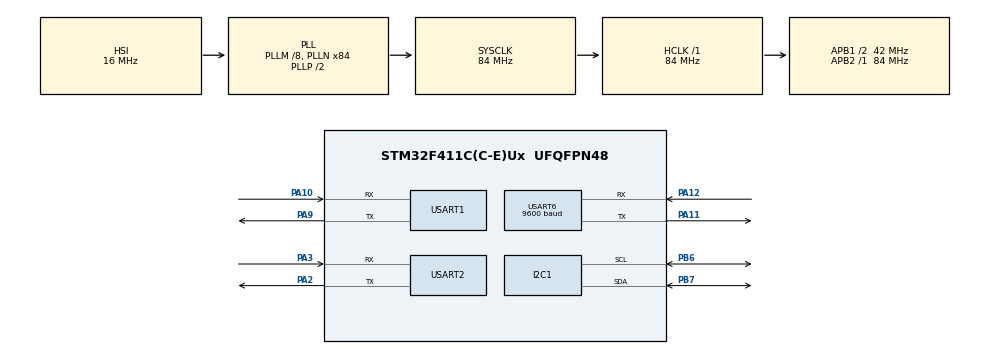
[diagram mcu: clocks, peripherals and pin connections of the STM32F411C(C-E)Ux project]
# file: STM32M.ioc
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Mcu.Family=STM32F4
Mcu.Name=STM32F411C(C-E)Ux
Mcu.Package=UFQFPN48
NVIC.I2C1_EV_IRQn=true\:0\:0\:false\:false\:true\:true\:true\:true
NVIC.PriorityGroup=NVIC_PRIORITYGROUP_4
NVIC.USART1_IRQn=true\:0\:0\:false\:false\:true\:true\:true\:true
NVIC.USART2_IRQn=true\:0\:0\:false\:false\:true\:true\:true\:true
NVIC.USART6_IRQn=true\:0\:0\:false\:false\:true\:true\:true\:true
PA10.Mode=Asynchronous
PA10.Signal=USART1_RX
PA11.Mode=Asynchronous
PA11.Signal=USART6_TX
PA12.Mode=Asynchronous
PA12.Signal=USART6_RX
PA13.Mode=Serial_Wire
PA13.Signal=SYS_JTMS-SWDIO
PA14.Mode=Serial_Wire
PA14.Signal=SYS_JTCK-SWCLK
PA2.Mode=Asynchronous
PA2.Signal=USART2_TX
PA3.Mode=Asynchronous
PA3.Signal=USART2_RX
PA9.Mode=Asynchronous
PA9.Signal=USART1_TX
PB6.GPIO_Pu=GPIO_PULLUP
PB6.Mode=I2C
PB6.Signal=I2C1_SCL
PB7.GPIO_Pu=GPIO_PULLUP
PB7.Mode=I2C
PB7.Signal=I2C1_SDA
PH0\ -\ OSC_IN.Mode=HSE-External-Oscillator
PH0\ -\ OSC_IN.Signal=RCC_OSC_IN
PH1\ -\ OSC_OUT.Mode=HSE-External-Oscillator
PH1\ -\ OSC_OUT.Signal=RCC_OSC_OUT
ProjectManager.HeapSize=0x200
ProjectManager.StackSize=0x400
ProjectManager.TargetToolchain=MDK-ARM V5.32
RCC.48MHZClocksFreq_Value=42000000
RCC.AHBFreq_Value=84000000
RCC.APB1CLKDivider=RCC_HCLK_DIV2
RCC.APB1Freq_Value=42000000
RCC.APB1TimFreq_Value=84000000
RCC.APB2Freq_Value=84000000
RCC.APB2TimFreq_Value=84000000
RCC.CortexFreq_Value=84000000
RCC.HCLKFreq_Value=84000000
RCC.HSE_VALUE=25000000
RCC.HSI_VALUE=16000000
RCC.LSE_VALUE=32768
RCC.PLLM=8
RCC.PLLN=84
RCC.SYSCLKFreq_VALUE=84000000
RCC.SYSCLKSource=RCC_SYSCLKSOURCE_PLLCLK
RCC.VCOOutputFreq_Value=168000000
USART1.VirtualMode=VM_ASYNC
USART2.VirtualMode=VM_ASYNC
USART6.BaudRate=9600
USART6.VirtualMode=VM_ASYNC
board=custom

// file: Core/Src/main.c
/* USER CODE BEGIN Header */
/**
  ******************************************************************************
  * @file           : main.c
  * @brief          : Main program body
  ******************************************************************************
  */
/* USER CODE END Header */
#include "main.h"

/* USER CODE BEGIN Includes */
#include "string.h"
#include "stdio.h"
/* USER CODE END Includes */

/* USER CODE BEGIN PTD */

// =======================================================
// ĐỊNH NGHĨA CÁC TRẠNG THÁI CỦA HỆ THỐNG (STATE MACHINE)
// =======================================================
typedef enum {
    STATE_INIT,      // Trạng thái khởi động, chờ các module ổn định
    STATE_NORMAL,    // Trạng thái an toàn, giám sát bình thường
    STATE_ALARM      // Trạng thái có lỗi an toàn (Tài xế vắng mặt hoặc chưa quẹt thẻ)
} BusState_t;

BusState_t sysState = STATE_INIT; // Trạng thái mặc định ban đầu

uint8_t u8_RxBuff1[50];  // Buffer cho UART1 (Camera)
uint8_t u8_RxBuff2[50];  // Buffer cho UART2 (ESP32)
uint8_t u8_RxBuff3[50];  // Buffer cho UART6 (Loa/RFID)

uint8_t u8_RxData1;      // Byte nhan cua esp
uint8_t u8_RxData2;      // Byte nhan cua Camera
uint8_t u8_RxData3;      // Byte nhan cua Loa/RFID

uint8_t _rxIndex1 = 0;   // Index cho UART1
uint8_t _rxIndex2 = 0;   // Index cho UART2
uint8_t _rxIndex3 = 0;   // Index cho UART6

volatile uint8_t Tx_Flag1 = 0;
volatile uint8_t Tx_Flag2 = 0;
volatile uint8_t Tx_Flag3 = 0;

uint8_t rfid_count = 0;         // Dem so luong hoc sinh quet the
uint8_t seats[16] = {0};        // Trang thai ghe: 1 = co nguoi, 0 = trong
uint8_t people_detect = 0;      // Cam bien phat hien nguoi: 1 = co, 0 = khong
uint8_t is_goingtoschool = 0;   // 0 là di dón hoc sinh , 1 mang hs den truong

// Biến lưu trạng thái lỗi để State Machine quyết định
uint8_t err_driver = 0;
uint8_t err_rfid = 0;
/* USER CODE END PTD */

I2C_HandleTypeDef hi2c1;

UART_HandleTypeDef huart1;
UART_HandleTypeDef huart2;
UART_HandleTypeDef huart6;

/* USER CODE BEGIN PV */
char* ghe_ngoi[16] = {"m0\n","m1\n","m2\n","m3\n","m4\n","m5\n","m6\n","m7\n","m8\n","m9\n","m10\n","m11\n","m12\n","x13\n","x14\n","x15\n"};
char* ghe_k_ngoi[16] = {"x0\n","x1\n","x2\n","x3\n","x4\n","x5\n","x6\n","x7\n","x8\n","x9\n","x10\n","x11\n","x12\n","x13\n","x14\n","x15\n"};

uint16_t f411_seats_data;    // Biến 16-bit lưu trạng thái của 16 ghế
uint8_t flag_new_data = 0;
uint8_t rx_buffer[2];
uint8_t count =0;
uint8_t giatri =0;
/* USER CODE END PV */

void SystemClock_Config(void);
static void MX_GPIO_Init(void);
static void MX_USART1_UART_Init(void);
static void MX_USART2_UART_Init(void);
static void MX_I2C1_Init(void);
static void MX_USART6_UART_Init(void);

/* USER CODE BEGIN PFP */
void send_tb() {
    char jsonBuf[256];
    uint8_t hs_count = 0;

    for(int i = 1; i <= 15; i++) {
        if(seats[i] == 1) hs_count++;
    }

    uint8_t isAlarm = (sysState == STATE_ALARM) ? 1 : 0;

    sprintf(jsonBuf, "TB:{\"so_hs_tren_xe\":%d, \"tai_xe_tren_xe\":%s, \"ghe_co_nguoi\":%s, \"bao_dong\":%s}\r\n",
            hs_count,
            (seats[0] == 1) ? "true" : "false",
            (hs_count > 0) ? "true" : "false",
            (isAlarm == 1) ? "true" : "false");

    HAL_UART_Transmit(&huart2, (uint8_t*)jsonBuf, strlen(jsonBuf), 50);
}

// Hàm này chỉ làm 1 việc duy nhất: Đọc tình huống hiện tại và gán lỗi
void Check_System_Errors() {
    uint8_t hs_count = 0;
    for(int i = 1; i <= 15; i++) {
        if(seats[i] == 1) hs_count++;
    }
    if(hs_count ==0 && is_goingtoschool == 1){
		 if(seats[0]==1){
		  HAL_UART_Transmit(&huart6, (uint8_t*)"001\r\n", strlen("001\r\n"), 50);
		 }
		}
    err_driver = ((seats[0] == 0) && (hs_count > 0 || people_detect == 1));
    err_rfid = (hs_count > rfid_count);
}

// Hàm gom khối xử lý I2C
void Process_I2C_Data() {
    if (flag_new_data == 1) {
        flag_new_data = 0;
        f411_seats_data = (rx_buffer[0] << 8) | rx_buffer[1];

        //char debug_buf[50];
        //sprintf(debug_buf, "I2C RAW: %02X %02X -> %d\r\n", rx_buffer[0], rx_buffer[1], f411_seats_data);
        //HAL_UART_Transmit(&huart2, (uint8_t*)debug_buf, strlen(debug_buf), 50);

        uint8_t is_changed = 0;
        for (int i = 0; i < 16; i++) {
            uint8_t bit_val = (f411_seats_data & (1 << i)) ? 1 : 0;
            if (seats[i] != bit_val) {
                seats[i] = bit_val;
                is_changed = 1;
                if (seats[i] == 1) {
                    HAL_UART_Transmit(&huart1, (uint8_t*)ghe_ngoi[i], strlen(ghe_ngoi[i]), 50);
                } else {
                    HAL_UART_Transmit(&huart1, (uint8_t*)ghe_k_ngoi[i], strlen(ghe_k_ngoi[i]), 50);
                }
            }
        }

        if (is_changed) {
            Check_System_Errors(); // Đánh giá lại lỗi
            send_tb();             // Báo cáo lên web
        }
    }
}

// Hàm gom khối xử lý phản hồi từ ESP32
void Process_ESP_Responses() {
    if (Tx_Flag1 == 1) {
        if(strncmp((char*)u8_RxBuff2, "GS:", 3) == 0) {
            char* response = (char*)u8_RxBuff2 + 3;
            uint8_t needUpdateTB = 0;

            if (strncmp(response, "M_OK", 4) == 0 || strncmp(response, "M_END", 5) == 0) {
                if(strncmp(response, "M_END", 5) == 0){
    if(seats[0] == 1) {  // Tài xế đã lên xe
        HAL_UART_Transmit(&huart6, (uint8_t*)"003\r\n", strlen("003\r\n"), 50);
        is_goingtoschool = 1;
    } else {
        // ⚠️ Tài xế vắng mặt - không gửi 003, đợi tài xế lên xe
        //HAL_UART_Transmit(&huart6, (uint8_t*)"002\r\n", strlen("002\r\n"), 50); // Cảnh báo tài xế vắng mặt
    }
}
                rfid_count++;
                needUpdateTB = 1;
            }
            else if (strncmp(response, "A_OK", 4) == 0 || strncmp(response, "A_END", 5) == 0 || strncmp(response, "A_C", 3) == 0) {
                if(rfid_count > 0) rfid_count--;
                needUpdateTB = 1;

                if (rfid_count == 0) {
                    HAL_UART_Transmit(&huart6, (uint8_t*)"001\r\n", strlen("001\r\n"), 50);
                }
            }
            else if (strncmp(response, "NOT_FOUND", 9) == 0) {
                 HAL_UART_Transmit(&huart6, (uint8_t*)"010\r\n", strlen("010\r\n"), 50);
            }

            Check_System_Errors();
            if(needUpdateTB) send_tb();
        }
        memset(u8_RxBuff2, 0, sizeof(u8_RxBuff2));
        _rxIndex2 = 0;
        Tx_Flag1 = 0;
    }
}

// Hàm gom khối xử lý Camera
void Process_Camera_Data() {
    if (Tx_Flag2 == 1) {
        if(u8_RxBuff1[0] == '1') people_detect = 1;
        else if(u8_RxBuff1[0] == '0') people_detect = 0;

        Check_System_Errors();
        send_tb();

        memset(u8_RxBuff1, 0, sizeof(u8_RxBuff1));
        _rxIndex1 = 0;
        Tx_Flag2 = 0;
    }
}

// Hàm gom khối xử lý RFID
void Process_RFID_Data() {
    if (Tx_Flag3 == 1) {
        char rfidCmd[50];
        sprintf(rfidCmd, "RFID:%s\r\n", u8_RxBuff3);
        HAL_UART_Transmit(&huart2, (uint8_t*)rfidCmd, strlen(rfidCmd), 50);

        memset(u8_RxBuff3, 0, sizeof(u8_RxBuff3));
        _rxIndex3 = 0;
        Tx_Flag3 = 0;
    }
}
/* USER CODE END PFP */

/* USER CODE BEGIN 0 */
void HAL_UART_ErrorCallback(UART_HandleTypeDef *huart) {
    if (huart->Instance == USART1) HAL_UART_Receive_IT(&huart1, &u8_RxData2, 1);
    else if (huart->Instance == USART2) HAL_UART_Receive_IT(&huart2, &u8_RxData1, 1);
    else if (huart->Instance == USART6) HAL_UART_Receive_IT(&huart6, &u8_RxData3, 1);
}

void HAL_UART_RxCpltCallback(UART_HandleTypeDef *huart) {
    if(huart->Instance == USART2) {
        if(u8_RxData1 != '\r' && u8_RxData1 != '\n') {
            u8_RxBuff2[_rxIndex2++] = u8_RxData1;
            if(_rxIndex2 >= sizeof(u8_RxBuff2) - 1) _rxIndex2 = sizeof(u8_RxBuff2) - 1;
        } else {
            if(_rxIndex2 > 0) { u8_RxBuff2[_rxIndex2] = '\0'; Tx_Flag1 = 1; }
        }
        HAL_UART_Receive_IT(&huart2, &u8_RxData1, 1);
    }

    if(huart->Instance == USART1) {
        if(u8_RxData2 != '\r' && u8_RxData2 != '\n') {
            u8_RxBuff1[_rxIndex1++] = u8_RxData2;
            if(_rxIndex1 >= sizeof(u8_RxBuff1) - 1) _rxIndex1 = sizeof(u8_RxBuff1) - 1;
        } else {
            if(_rxIndex1 > 0) { u8_RxBuff1[_rxIndex1] = '\0'; Tx_Flag2 = 1; }
        }
        HAL_UART_Receive_IT(&huart1, &u8_RxData2, 1);
    }

    if(huart->Instance == USART6) {
        if(u8_RxData3 != '\r' && u8_RxData3 != '\n') {
            u8_RxBuff3[_rxIndex3++] = u8_RxData3;
            if(_rxIndex3 >= sizeof(u8_RxBuff3) - 1) _rxIndex3 = sizeof(u8_RxBuff3) - 1;
        } else {
            if(_rxIndex3 > 0) { u8_RxBuff3[_rxIndex3] = '\0'; Tx_Flag3 = 1; }
        }
        HAL_UART_Receive_IT(&huart6, &u8_RxData3, 1);
    }
}

void HAL_I2C_SlaveRxCpltCallback(I2C_HandleTypeDef *hi2c) {
    if (hi2c->Instance == I2C1) {
        if ((count == 0) && (giatri == 0x01)) count = 1;
        else if (count == 1) { rx_buffer[0] = giatri; count = 2; }
        else if (count == 2) { rx_buffer[1] = giatri; count = 3; }
        else if ((count == 3) && (giatri == 0x09)) { count = 0; flag_new_data = 1; }
        else count = 0;
        HAL_I2C_Slave_Receive_IT(&hi2c1, (uint8_t*)&giatri, 1);
    }
}

void HAL_I2C_ErrorCallback(I2C_HandleTypeDef *hi2c) {
    if (hi2c->Instance == I2C1) {
        HAL_I2C_DeInit(&hi2c1);
        HAL_I2C_Init(&hi2c1);
        count = 0;
        HAL_I2C_Slave_Receive_IT(&hi2c1, (uint8_t*)&giatri, 1);
    }
}
/* USER CODE END 0 */

int main(void)
{

  /* MCU Configuration--------------------------------------------------------*/
  HAL_Init();
  SystemClock_Config();
  MX_GPIO_Init();
  MX_USART1_UART_Init();
  MX_USART2_UART_Init();
  MX_I2C1_Init();
  MX_USART6_UART_Init();

  /* USER CODE BEGIN 2 */
  HAL_UART_Receive_IT(&huart2, &u8_RxData1, 1);
  HAL_UART_Receive_IT(&huart1, &u8_RxData2, 1);
  HAL_UART_Receive_IT(&huart6, &u8_RxData3, 1);
  HAL_I2C_Slave_Receive_IT(&hi2c1,&giatri, 1);
  /* USER CODE END 2 */

  /* Infinite loop */
  /* USER CODE BEGIN WHILE */

  // Thời gian lưu lần cuối cùng gửi dữ liệu định kỳ
  uint32_t last_send_time = 0;
  static uint8_t last_err_driver = 0;
  static uint8_t last_err_rfid = 0;

  while(1){
      // 1. LUÔN LUÔN TIẾP NHẬN DỮ LIỆU TỪ CÁC CẢM BIẾN (Chạy bất kể trạng thái nào)
      Process_I2C_Data();
      Process_Camera_Data();
      Process_ESP_Responses();
      Process_RFID_Data();

      // 2. MÁY TRẠNG THÁI (STATE MACHINE) ĐỂ XỬ LÝ LOGIC AN TOÀN
       // 2. MÁY TRẠNG THÁI (STATE MACHINE) ĐỂ XỬ LÝ LOGIC AN TOÀN
      switch (sysState) {

          case STATE_INIT:
              // Chờ 2 giây để các module khởi động xong, sau đó vào trạng thái Bình thường
              if (HAL_GetTick() > 2000) {
                  sysState = STATE_NORMAL;
              }
              break;

          case STATE_NORMAL:
              // Nếu xuất hiện bất kỳ lỗi nào, chuyển sang ALARM
              if (err_driver == 1 || err_rfid == 1) {
                  sysState = STATE_ALARM;
                  send_tb(); // Gửi trạng thái lên web
              }
              break;

          case STATE_ALARM:
              // Đang báo động. Nếu TẤT CẢ các lỗi đã được xử lý -> Trở về Bình thường
              if (err_driver == 0 && err_rfid == 0) {
                  sysState = STATE_NORMAL;
                  send_tb(); // Gửi trạng thái lên web
              }
              break;
      }

      // XỬ LÝ GỬI UART CẢNH BÁO (ĐỘC LẬP VỚI STATE MACHINE)
      if (sysState != STATE_INIT) {
          // Nếu phát hiện lỗi tài xế MỚI XUẤT HIỆN
          if (err_driver == 1 && last_err_driver == 0) {
              HAL_UART_Transmit(&huart2, (uint8_t*)"sos\r\n", strlen("sos\r\n"), 50); // SOS
          }
          // Nếu phát hiện lỗi RFID MỚI XUẤT HIỆN
          if (err_rfid == 1 && last_err_rfid == 0) {
              HAL_UART_Transmit(&huart6, (uint8_t*)"005\r\n", strlen("005\r\n"), 50); // Nhắc quẹt thẻ
          }

          // Cập nhật lại lịch sử lỗi
          last_err_driver = err_driver;
          last_err_rfid = err_rfid;
      }

      // 3. TÁC VỤ ĐỊNH KỲ: Gửi dữ liệu lên web mỗi 5 giây để duy trì kết nối
      if (sysState != STATE_INIT && (HAL_GetTick() - last_send_time >= 5000)) {
          send_tb();
          last_send_time = HAL_GetTick();
      }
  }
  /* USER CODE END 3 */
}

void SystemClock_Config(void)
{
  RCC_OscInitTypeDef RCC_OscInitStruct = {0};
  RCC_ClkInitTypeDef RCC_ClkInitStruct = {0};

  /** Configure the main internal regulator output voltage
  */
  __HAL_RCC_PWR_CLK_ENABLE();
  __HAL_PWR_VOLTAGESCALING_CONFIG(PWR_REGULATOR_VOLTAGE_SCALE1);

  /** Initializes the RCC Oscillators according to the specified parameters
  * in the RCC_OscInitTypeDef structure.
  */
  RCC_OscInitStruct.OscillatorType = RCC_OSCILLATORTYPE_HSI;
  RCC_OscInitStruct.HSIState = RCC_HSI_ON;
  RCC_OscInitStruct.HSICalibrationValue = RCC_HSICALIBRATION_DEFAULT;
  RCC_OscInitStruct.PLL.PLLState = RCC_PLL_ON;
  RCC_OscInitStruct.PLL.PLLSource = RCC_PLLSOURCE_HSI;
  RCC_OscInitStruct.PLL.PLLM = 8;
  RCC_OscInitStruct.PLL.PLLN = 84;
  RCC_OscInitStruct.PLL.PLLP = RCC_PLLP_DIV2;
  RCC_OscInitStruct.PLL.PLLQ = 4;
  if (HAL_RCC_OscConfig(&RCC_OscInitStruct) != HAL_OK)
  {
    Error_Handler();
  }

  /** Initializes the CPU, AHB and APB buses clocks
  */
  RCC_ClkInitStruct.ClockType = RCC_CLOCKTYPE_HCLK|RCC_CLOCKTYPE_SYSCLK
                              |RCC_CLOCKTYPE_PCLK1|RCC_CLOCKTYPE_PCLK2;
  RCC_ClkInitStruct.SYSCLKSource = RCC_SYSCLKSOURCE_PLLCLK;
  RCC_ClkInitStruct.AHBCLKDivider = RCC_SYSCLK_DIV1;
  RCC_ClkInitStruct.APB1CLKDivider = RCC_HCLK_DIV2;
  RCC_ClkInitStruct.APB2CLKDivider = RCC_HCLK_DIV1;

  if (HAL_RCC_ClockConfig(&RCC_ClkInitStruct, FLASH_LATENCY_2) != HAL_OK)
  {
    Error_Handler();
  }
}

static void MX_I2C1_Init(void)
{

  hi2c1.Instance = I2C1;
  hi2c1.Init.ClockSpeed = 100000;
  hi2c1.Init.DutyCycle = I2C_DUTYCYCLE_2;
  hi2c1.Init.OwnAddress1 = 64;
  hi2c1.Init.AddressingMode = I2C_ADDRESSINGMODE_7BIT;
  hi2c1.Init.DualAddressMode = I2C_DUALADDRESS_DISABLE;
  hi2c1.Init.OwnAddress2 = 0;
  hi2c1.Init.GeneralCallMode = I2C_GENERALCALL_DISABLE;
  hi2c1.Init.NoStretchMode = I2C_NOSTRETCH_DISABLE;
  if (HAL_I2C_Init(&hi2c1) != HAL_OK)
  {
    Error_Handler();
  }

}

static void MX_USART1_UART_Init(void)
{

  huart1.Instance = USART1;
  huart1.Init.BaudRate = 9600;
  huart1.Init.WordLength = UART_WORDLENGTH_8B;
  huart1.Init.StopBits = UART_STOPBITS_1;
  huart1.Init.Parity = UART_PARITY_NONE;
  huart1.Init.Mode = UART_MODE_TX_RX;
  huart1.Init.HwFlowCtl = UART_HWCONTROL_NONE;
  huart1.Init.OverSampling = UART_OVERSAMPLING_16;
  if (HAL_UART_Init(&huart1) != HAL_OK)
  {
    Error_Handler();
  }

}

static void MX_USART2_UART_Init(void)
{

  huart2.Instance = USART2;
  huart2.Init.BaudRate = 115200;
  huart2.Init.WordLength = UART_WORDLENGTH_8B;
  huart2.Init.StopBits = UART_STOPBITS_1;
  huart2.Init.Parity = UART_PARITY_NONE;
  huart2.Init.Mode = UART_MODE_TX_RX;
  huart2.Init.HwFlowCtl = UART_HWCONTROL_NONE;
  huart2.Init.OverSampling = UART_OVERSAMPLING_16;
  if (HAL_UART_Init(&huart2) != HAL_OK)
  {
    Error_Handler();
  }

}

static void MX_USART6_UART_Init(void)
{

  huart6.Instance = USART6;
  huart6.Init.BaudRate = 9600;
  huart6.Init.WordLength = UART_WORDLENGTH_8B;
  huart6.Init.StopBits = UART_STOPBITS_1;
  huart6.Init.Parity = UART_PARITY_NONE;
  huart6.Init.Mode = UART_MODE_TX_RX;
  huart6.Init.HwFlowCtl = UART_HWCONTROL_NONE;
  huart6.Init.OverSampling = UART_OVERSAMPLING_16;
  if (HAL_UART_Init(&huart6) != HAL_OK)
  {
    Error_Handler();
  }

}

static void MX_GPIO_Init(void)
{

  /* GPIO Ports Clock Enable */
  __HAL_RCC_GPIOH_CLK_ENABLE();
  __HAL_RCC_GPIOA_CLK_ENABLE();
  __HAL_RCC_GPIOB_CLK_ENABLE();

}

void Error_Handler(void)
{
  __disable_irq();
  while (1)
  {
  }
}
